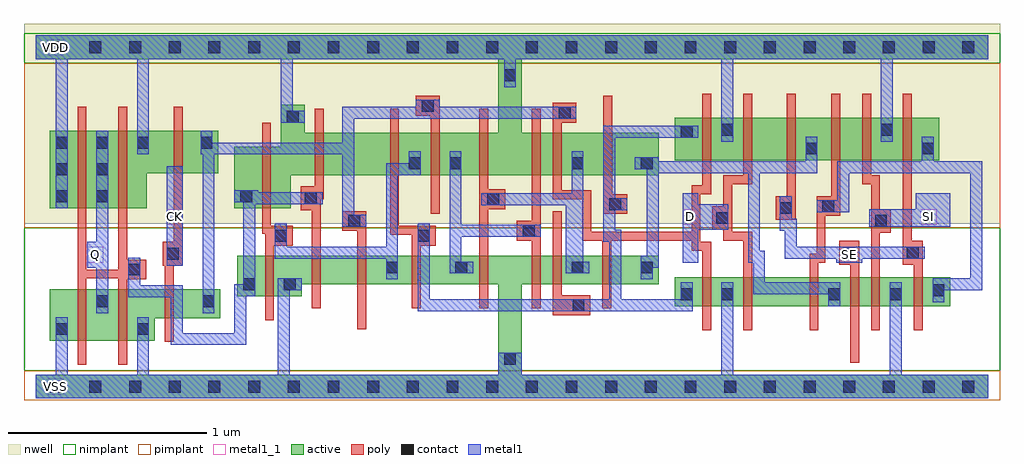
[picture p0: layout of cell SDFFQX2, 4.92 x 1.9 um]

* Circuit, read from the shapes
.subckt SDFFQX2 CK D Q SE SI VDD VSS
M1 Q n1 VSS VSS nfet w=0.26u l=0.045u m=2
M2 n2 CK VSS VSS nfet w=0.145u l=0.045u
M3 VSS n3 n1 VSS nfet w=0.205u l=0.045u
M4 n4 n1 VSS VSS nfet w=0.145u l=0.045u
M5 n3 n2 n4 VSS nfet w=0.145u l=0.045u
M6 n5 n6 n3 VSS nfet w=0.145u l=0.045u
M7 VSS n7 n5 VSS nfet w=0.145u l=0.045u
M8 n8 n5 VSS VSS nfet w=0.145u l=0.045u
M9 n7 n6 n8 VSS nfet w=0.145u l=0.045u
M10 n9 n2 n7 VSS nfet w=0.145u l=0.045u
M11 VSS n2 n6 VSS nfet w=0.145u l=0.045u
M12 n10 D VSS VSS nfet w=0.145u l=0.045u
M13 n9 n11 n10 VSS nfet w=0.145u l=0.045u
M14 n12 SE n9 VSS nfet w=0.145u l=0.045u
M15 VSS SI n12 VSS nfet w=0.145u l=0.045u
M16 n11 SE VSS VSS nfet w=0.145u l=0.045u
M17 Q n1 VDD VDD pfet w=0.39u l=0.045u m=2
M18 n2 CK VDD VDD pfet w=0.215u l=0.045u
M19 VDD n3 n1 VDD pfet w=0.31u l=0.045u
M20 n13 n1 VDD VDD pfet w=0.215u l=0.045u
M21 n3 n6 n13 VDD pfet w=0.215u l=0.045u
M22 n5 n2 n3 VDD pfet w=0.215u l=0.045u
M23 VDD n7 n5 VDD pfet w=0.215u l=0.045u
M24 n14 n5 VDD VDD pfet w=0.215u l=0.045u
M25 n7 n2 n14 VDD pfet w=0.215u l=0.045u
M26 n9 n6 n7 VDD pfet w=0.215u l=0.045u
M27 VDD n2 n6 VDD pfet w=0.215u l=0.045u
M28 n15 D VDD VDD pfet w=0.215u l=0.045u
M29 n9 SE n15 VDD pfet w=0.215u l=0.045u
M30 n16 n11 n9 VDD pfet w=0.215u l=0.045u
M31 VDD SI n16 VDD pfet w=0.215u l=0.045u
M32 n11 SE VDD VDD pfet w=0.215u l=0.045u
.ends

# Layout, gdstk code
import gdstk
lib = gdstk.Library(unit=1e-6, precision=5e-10)
def R(c, l, rs):  # rectangles x0, y0, x1, y1
    for r in rs: c.add(gdstk.rectangle(r[:2], r[2:], *l))
def A(c, l, x, y, w, h, nx, ny, dx, dy):  # array of equal rectangles
    R(c, l, [(x+i*dx, y+j*dy, x+i*dx+w, y+j*dy+h) for i in range(nx) for j in range(ny)])
def P(c, l, *ps):  # polygons
    for p in ps: c.add(gdstk.Polygon(p, *l))
active = (1, 0)
nwell = (2, 0)
poly = (3, 0)
nimplant = (4, 0)
pimplant = (5, 0)
contact = (6, 0)
metal1 = (7, 0)
metal1_1 = (7, 1)

sdffqx2 = lib.new_cell('SDFFQX2')
R(sdffqx2, active, [(3.22,0.405,4.61,0.55), (3.22,1.14,4.555,1.355)])
P(sdffqx2, active, [(0,1.77),(4.8,1.77),(4.8,1.65),(2.45,1.65),(2.45,1.28),(3.14,1.28),(3.14,1.065),(1.285,1.065),(1.285,0.9),(1,0.9),(1,1.21),(1.235,1.21),(1.235,1.42),(1.355,1.42),(1.355,1.28),(2.33,1.28),(2.33,1.65),(0,1.65)],
  [(0.07,1.29),(0.92,1.29),(0.92,1.075),(0.56,1.075),(0.56,0.9),(0.07,0.9)],
  [(0.07,0.49),(0.93,0.49),(0.93,0.345),(0.6,0.345),(0.6,0.23),(0.07,0.23)],
  [(1.015,0.66),(3.14,0.66),(3.14,0.515),(2.45,0.515),(2.45,0.06),(4.8,0.06),(4.8,-0.06),(0,-0.06),(0,0.06),(2.33,0.06),(2.33,0.515),(1.34,0.515),(1.34,0.455),(1.015,0.455)])
R(sdffqx2, nwell, [(-0.06,0.82,4.86,1.83)])
P(sdffqx2, poly, [(1.915,1.465),(2.035,1.465),(2.035,0.87),(1.99,0.87),(1.99,1.365),(1.915,1.365)],
  [(0.21,1.41),(0.255,1.41),(0.255,0.59),(0.415,0.59),(0.415,1.41),(0.46,1.41),(0.46,0.64),(0.555,0.64),(0.555,0.54),(0.46,0.54),(0.46,0.11),(0.415,0.11),(0.415,0.545),(0.255,0.545),(0.255,0.11),(0.21,0.11)],
  [(0.695,1.41),(0.74,1.41),(0.74,0.61),(0.695,0.61),(0.695,0.225),(0.65,0.225),(0.65,0.61),(0.64,0.61),(0.64,0.73),(0.695,0.73)],
  [(1.14,1.33),(1.185,1.33),(1.185,0.81),(1.295,0.81),(1.295,0.71),(1.2,0.71),(1.2,0.335),(1.155,0.335),(1.155,0.77),(1.14,0.77)],
  [(1.405,1.4),(1.45,1.4),(1.45,0.945),(1.435,0.945),(1.435,0.395),(1.39,0.395),(1.39,0.89),(1.335,0.89),(1.335,1.01),(1.405,1.01)],
  [(1.785,1.4),(1.83,1.4),(1.83,0.81),(2.015,0.81),(2.015,0.71),(1.94,0.71),(1.94,0.395),(1.895,0.395),(1.895,0.765),(1.785,0.765)],
  [(2.235,1.4),(2.28,1.4),(2.28,0.995),(2.365,0.995),(2.365,0.895),(2.28,0.895),(2.28,0.395),(2.235,0.395)],
  [(2.605,1.43),(2.725,1.43),(2.725,1.33),(2.65,1.33),(2.65,0.99),(2.8,0.99),(2.8,0.78),(3.305,0.78),(3.305,1.015),(3.36,1.015),(3.36,1.475),(3.405,1.475),(3.405,0.97),(3.35,0.97),(3.35,0.73),(3.405,0.73),(3.405,0.285),(3.36,0.285),(3.36,0.685),(3.305,0.685),(3.305,0.735),(2.9,0.735),(2.9,0.395),(2.855,0.395),(2.855,0.735),(2.755,0.735),(2.755,0.945),(2.605,0.945)],
  [(2.5,1.4),(2.545,1.4),(2.545,0.395),(2.5,0.395),(2.5,0.735),(2.425,0.735),(2.425,0.835),(2.5,0.835)],
  [(2.86,1.465),(2.905,1.465),(2.905,0.97),(2.98,0.97),(2.98,0.87),(2.86,0.87)],
  [(3.565,1.475),(3.61,1.475),(3.61,1.02),(3.51,1.02),(3.51,0.78),(3.61,0.78),(3.61,0.285),(3.565,0.285),(3.565,0.735),(3.465,0.735),(3.465,0.79),(3.41,0.79),(3.41,0.91),(3.465,0.91),(3.465,1.065),(3.565,1.065)],
  [(3.785,1.475),(3.83,1.475),(3.83,0.84),(3.73,0.84),(3.73,0.96),(3.785,0.96)],
  [(4.01,1.475),(4.055,1.475),(4.055,0.86),(3.98,0.86),(3.98,0.625),(3.945,0.625),(3.945,0.285),(3.9,0.285),(3.9,0.67),(3.935,0.67),(3.935,0.96),(4.01,0.96)],
  [(4.165,1.475),(4.21,1.475),(4.21,1.065),(4.255,1.065),(4.255,0.895),(4.31,0.895),(4.31,0.775),(4.255,0.775),(4.255,0.285),(4.21,0.285),(4.21,1.02),(4.165,1.02)],
  [(4.37,1.475),(4.415,1.475),(4.415,0.735),(4.47,0.735),(4.47,0.285),(4.425,0.285),(4.425,0.615),(4.37,0.615)],
  [(1.545,0.885),(1.665,0.885),(1.665,0.29),(1.62,0.29),(1.62,0.785),(1.545,0.785)],
  [(2.605,0.885),(2.65,0.885),(2.65,0.46),(2.795,0.46),(2.795,0.36),(2.605,0.36)],
  [(4.05,0.735),(4.15,0.735),(4.15,0.12),(4.105,0.12),(4.105,0.615),(4.05,0.615)])
R(sdffqx2, nimplant, [(-0.06,0.08,4.86,0.8), (-0.06,1.63,4.86,1.78)])
R(sdffqx2, pimplant, [(-0.06,-0.07,4.86,0.08), (-0.06,0.8,4.86,1.63)])
A(sdffqx2, contact, 0.07, -0.03, 0.06, 0.06, 24, 2, 0.2, 1.71)
A(sdffqx2, contact, 0.1, 1.2, 0.06, 0.06, 3, 1, 0.205, 0)
R(sdffqx2, contact, [(2.36,0.11,2.42,0.17), (0.1,0.26,0.16,0.32), (0.51,0.26,0.57,0.32), (2.705,0.38,2.765,0.44), (0.305,0.4,0.365,0.46), (0.84,0.4,0.9,0.46), (3.25,0.435,3.31,0.495), (3.455,0.435,3.515,0.495), (3.995,0.435,4.055,0.495), (4.305,0.435,4.365,0.495), (4.52,0.455,4.58,0.515), (1.045,0.485,1.105,0.545), (1.25,0.485,1.31,0.545), (0.465,0.56,0.525,0.62), (1.765,0.57,1.825,0.63), (2.115,0.57,2.175,0.63), (2.7,0.57,2.76,0.63), (3.05,0.57,3.11,0.63), (0.66,0.64,0.72,0.7), (4.07,0.645,4.13,0.705), (4.39,0.645,4.45,0.705), (1.205,0.73,1.265,0.79), (1.925,0.73,1.985,0.79), (2.455,0.755,2.515,0.815), (1.575,0.805,1.635,0.865), (4.23,0.805,4.29,0.865), (3.43,0.82,3.49,0.88), (3.75,0.87,3.81,0.93), (3.965,0.88,4.025,0.94), (2.89,0.89,2.95,0.95), (2.275,0.915,2.335,0.975), (1.355,0.92,1.415,0.98), (0.1,0.93,0.16,0.99), (0.305,0.93,0.365,0.99), (1.03,0.93,1.09,0.99), (0.1,1.065,0.16,1.125), (0.305,1.065,0.365,1.125), (1.88,1.095,1.94,1.155), (2.085,1.095,2.145,1.155), (2.7,1.095,2.76,1.155), (3.05,1.095,3.11,1.155), (3.88,1.17,3.94,1.23), (4.465,1.17,4.525,1.23), (0.83,1.2,0.89,1.26), (3.25,1.255,3.31,1.315), (3.455,1.265,3.515,1.325), (4.26,1.265,4.32,1.325), (1.265,1.33,1.325,1.39), (2.635,1.35,2.695,1.41), (1.945,1.385,2.005,1.445), (2.36,1.54,2.42,1.6)])
R(sdffqx2, metal1, [(0.66,0.61,0.74,1.11)])
P(sdffqx2, metal1, [(0,1.77),(4.8,1.77),(4.8,1.65),(4.32,1.65),(4.32,1.235),(4.26,1.235),(4.26,1.65),(3.515,1.65),(3.515,1.235),(3.455,1.235),(3.455,1.65),(2.42,1.65),(2.42,1.51),(2.36,1.51),(2.36,1.65),(1.295,1.65),(1.295,1.39),(1.355,1.39),(1.355,1.33),(1.235,1.33),(1.235,1.65),(0.57,1.65),(0.57,1.17),(0.51,1.17),(0.51,1.65),(0.16,1.65),(0.16,0.9),(0.1,0.9),(0.1,1.65),(0,1.65)],
  [(0.305,1.29),(0.365,1.29),(0.365,0.37),(0.305,0.37),(0.305,0.6),(0.26,0.6),(0.26,0.73),(0.305,0.73)],
  [(1.915,1.445),(2.035,1.445),(2.035,1.41),(2.725,1.41),(2.725,1.35),(1.605,1.35),(1.605,0.865),(1.665,0.865),(1.665,0.805),(1.545,0.805),(1.545,1.17),(0.9,1.17),(0.9,0.37),(0.84,0.37),(0.84,1.17),(0.83,1.17),(0.83,1.29),(0.89,1.29),(0.89,1.23),(1.545,1.23),(1.545,1.41),(1.915,1.41)],
  [(2.86,1.315),(3.34,1.315),(3.34,1.255),(2.92,1.255),(2.92,0.95),(2.98,0.95),(2.98,0.89),(2.92,0.89),(2.92,0.79),(2.95,0.79),(2.95,0.44),(3.25,0.44),(3.25,0.525),(3.31,0.525),(3.31,0.38),(1.925,0.38),(1.925,0.82),(1.985,0.82),(1.985,0.44),(2.89,0.44),(2.89,0.73),(2.86,0.73)],
  [(1,0.99),(1.12,0.99),(1.12,0.98),(1.445,0.98),(1.445,0.92),(1.105,0.92),(1.105,0.455),(1.06,0.455),(1.06,0.21),(0.68,0.21),(0.68,0.45),(0.465,0.45),(0.465,0.65),(0.525,0.65),(0.525,0.51),(0.74,0.51),(0.74,0.27),(1,0.27),(1,0.515),(1.045,0.515),(1.045,0.93),(1,0.93)],
  [(1.22,0.545),(1.34,0.545),(1.34,0.485),(1.28,0.485),(1.28,0.06),(2.33,0.06),(2.33,0.17),(2.45,0.17),(2.45,0.06),(3.455,0.06),(3.455,0.525),(3.515,0.525),(3.515,0.06),(4.305,0.06),(4.305,0.525),(4.365,0.525),(4.365,0.06),(4.8,0.06),(4.8,-0.06),(0,-0.06),(0,0.06),(0.1,0.06),(0.1,0.35),(0.16,0.35),(0.16,0.06),(0.51,0.06),(0.51,0.35),(0.57,0.35),(0.57,0.06),(1.22,0.06)],
  [(1.88,1.185),(1.94,1.185),(1.94,1.065),(1.825,1.065),(1.825,0.54),(1.765,0.54),(1.765,0.645),(1.205,0.645),(1.205,0.82),(1.265,0.82),(1.265,0.705),(1.765,0.705),(1.765,1.125),(1.88,1.125)],
  [(2.085,1.185),(2.145,1.185),(2.145,0.815),(2.545,0.815),(2.545,0.755),(2.145,0.755),(2.145,0.63),(2.205,0.63),(2.205,0.57),(2.085,0.57)],
  [(2.7,1.185),(2.76,1.185),(2.76,0.63),(2.79,0.63),(2.79,0.57),(2.67,0.57),(2.67,0.915),(2.245,0.915),(2.245,0.975),(2.7,0.975)],
  [(3.02,1.155),(3.14,1.155),(3.14,1.135),(3.88,1.135),(3.88,1.26),(3.94,1.26),(3.94,1.075),(3.65,1.075),(3.65,0.685),(3.675,0.685),(3.675,0.525),(4.055,0.525),(4.055,0.405),(3.995,0.405),(3.995,0.465),(3.615,0.465),(3.615,0.625),(3.59,0.625),(3.59,1.075),(3.14,1.075),(3.14,0.6),(3.11,0.6),(3.11,0.54),(3.05,0.54),(3.05,0.66),(3.08,0.66),(3.08,1.095),(3.02,1.095)],
  [(4.465,1.26),(4.525,1.26),(4.525,1.135),(4.77,1.135),(4.77,0.485),(4.58,0.485),(4.58,0.425),(4.52,0.425),(4.52,0.545),(4.71,0.545),(4.71,1.075),(4.1,1.075),(4.1,0.88),(3.935,0.88),(3.935,0.94),(4.04,0.94),(4.04,1.135),(4.465,1.135)],
  [(3.26,0.975),(3.34,0.975),(3.34,0.92),(3.49,0.92),(3.49,0.79),(3.34,0.79),(3.34,0.625),(3.26,0.625)],
  [(3.75,0.96),(3.81,0.96),(3.81,0.845),(3.835,0.845),(3.835,0.705),(4.48,0.705),(4.48,0.645),(4.165,0.645),(4.165,0.625),(4.035,0.625),(4.035,0.645),(3.775,0.645),(3.775,0.785),(3.75,0.785)],
  [(4.435,0.975),(4.61,0.975),(4.61,0.805),(4.2,0.805),(4.2,0.895),(4.435,0.895)])
R(sdffqx2, metal1_1, [(0.06,-0.04,0.14,0.04), (0.26,0.625,0.34,0.705), (4.06,0.625,4.14,0.705), (0.66,0.815,0.74,0.895), (3.26,0.815,3.34,0.895), (4.46,0.815,4.54,0.895), (0.06,1.67,0.14,1.75)])
sdffqx2.add(gdstk.Label('Q', (0.3,0.665), layer=7, texttype=1))
sdffqx2.add(gdstk.Label('SE', (4.1,0.665), layer=7, texttype=1))
sdffqx2.add(gdstk.Label('SI', (4.5,0.855), layer=7, texttype=1))
sdffqx2.add(gdstk.Label('D', (3.3,0.855), layer=7, texttype=1))
sdffqx2.add(gdstk.Label('CK', (0.7,0.855), layer=7, texttype=1))
sdffqx2.add(gdstk.Label('VDD', (0.1,1.71), layer=7, texttype=1))
sdffqx2.add(gdstk.Label('VSS', (0.1,0), layer=7, texttype=1))
sdffqx2.add(gdstk.Label('SDFFQX2', (0,0), layer=63, texttype=0))

lib.write_gds('SDFFQX2.gds')
